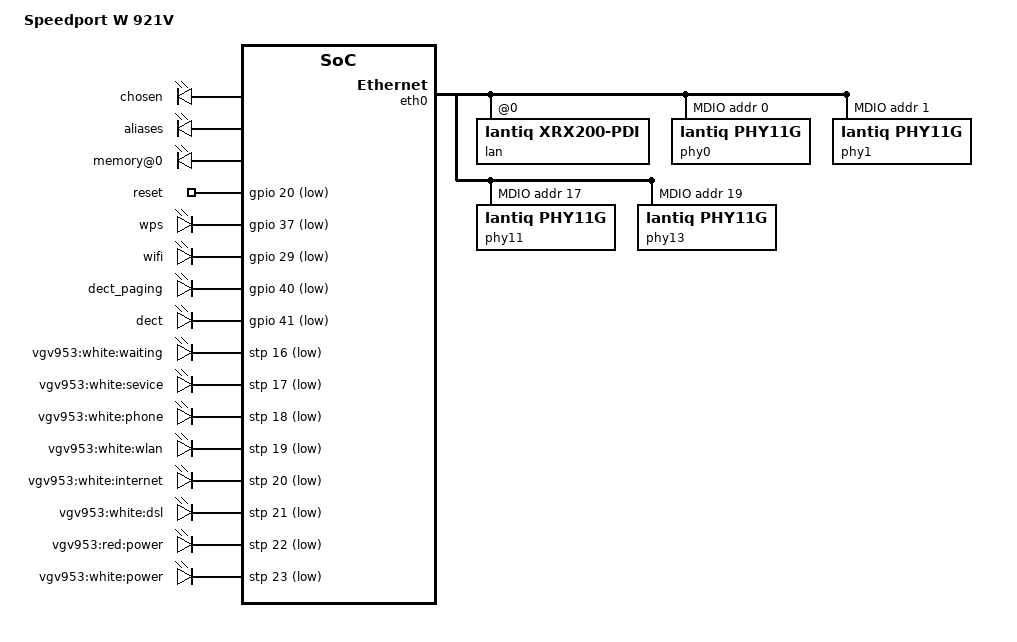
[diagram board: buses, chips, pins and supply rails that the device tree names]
/dts-v1/;

#include "vr9.dtsi"

#include <dt-bindings/input/input.h>

/ {
	compatible = "arcadyan,vgv953", "lantiq,xway", "lantiq,vr9";
	model = "Speedport W 921V";

	chosen {
/*		bootargs = "console=ttyLTQ0,115200 mem=62M vpe1_load_addr=0x83e00000 vpe1_mem=2M maxvpes=1 maxtcs=1 nosmp";*/
		bootargs = "console=ttyLTQ0,115200";
	};

	aliases {
		led-boot = &power_green;
		led-failsafe = &power_red;
		led-running = &power_green;

		led-dsl = &dsl;
		led-internet = &internet;
	};

	memory@0 {
		reg = <0x0 0x8000000>;
	};
/*	sram@1F000000 {/*
/*		vmmc@107000 {/*
/*		status = "okay";/*
/*		gpios = <&gpio 31 GPIO_ACTIVE_LOW>;/*
/*		};/*
/*	};/*

	fpi@10000000 {
		localbus@0 {
			nand-parts@0 {
				compatible = "lantiq,nand-xway";
				lantiq,cs = <1>;
				bank-width = <2>;
				reg = <0 0x0 0x2000000>;
				#address-cells = <1>;
				#size-cells = <1>;

				partitions {
					compatible = "fixed-partitions";
					#address-cells = <1>;
					#size-cells = <1>;

					partition@0 {
						label = "uboot";
						reg = <0x00000 0x40000>;
					};
					partition@40000 {
						label = "uboot-env";
						reg = <0x40000 0x20000>;
					};
					partition@60000 {
						label = "kernel";
						reg = <0x60000 0x200000>;
					};
					partition@260000 {
						label = "ubi";
						reg = <0x260000 0x1da0000>;
					};
				};
			};
		};

		gpio: pinmux@E100B10 {
			pinctrl-names = "default";
			pinctrl-0 = <&state_default>;

			state_default: pinmux {
				exin3 {
					lantiq,groups = "exin3";
					lantiq,function = "exin";
				};
				mdio {
					lantiq,groups = "mdio";
					lantiq,function = "mdio";
				};
				gphy-leds {
					lantiq,groups = "gphy0 led1", "gphy1 led1",
							"gphy0 led2", "gphy1 led2";
					lantiq,function = "gphy";
					lantiq,pull = <2>;
					lantiq,open-drain = <0>;
					lantiq,output = <1>;
				};
				stp {
					lantiq,groups = "stp";
					lantiq,function = "stp";
					lantiq,open-drain = <0>;
					lantiq,output = <1>;
				};
				pci-in {
					lantiq,groups = "req1";
					lantiq,function = "pci";
					lantiq,output = <0>;
					lantiq,open-drain = <1>;
					lantiq,pull = <2>;
				};
				pci-out {
					lantiq,groups = "gnt1";
					lantiq,function = "pci";
					lantiq,output = <1>;
					lantiq,open-drain = <0>;
					lantiq,pull = <0>;
				};
				pci_rst {
					lantiq,pins = "io21";
					lantiq,output = <1>;
					lantiq,open-drain;
				};
				pcie-rst {
					lantiq,pins = "io38";
					lantiq,pull = <0>;
					lantiq,output = <1>;
					lantiq,open-drain;
				};
				usb_vbus {
					lantiq,pins = "io33";
					lantiq,pull = <0>;
					lantiq,open-drain = <0>;
					lantiq,output = <1>;
				};
				nand_out {
					lantiq,groups = "nand cle", "nand ale";
					lantiq,function = "ebu";
					lantiq,output = <1>;
					lantiq,open-drain = <0>;
					lantiq,pull = <0>;
				};
				nand_cs1 {
					lantiq,groups = "nand cs1";
					lantiq,function = "ebu";
					lantiq,open-drain = <0>;
					lantiq,pull = <0>;
				};
			};
		};

		stp: stp@E100BB0 {
			compatible = "lantiq,gpio-stp-xway";
			gpio-controller;
			reg = <0xE100BB0 0x40>;
			#gpio-cells = <2>;


			lantiq,shadow = <0xffffff>;
			lantiq,groups = <0x7>;
			lantiq,dsl = <0x0>;
			lantiq,phy1 = <0x0>;
			lantiq,phy2 = <0x0>;
		};

		ifxhcd@E101000 {
			status = "okay";
			gpios = <&gpio 32 GPIO_ACTIVE_HIGH>;
			lantiq,portmask = <0x3>;
		};

		ifxhcd@E106000 {
			status = "okay";
			gpios = <&gpio 32 GPIO_ACTIVE_HIGH>;
		};

		pci@E105400 {
			status = "okay";
			gpio-reset = <&gpio 21 GPIO_ACTIVE_HIGH>;
		};

		pcie@d900000 {
			status = "disabled";
		};
	};

	gphy-xrx200 {
		compatible = "lantiq,phy-xrx200";
		firmware1 = "lantiq/xrx200_phy11g_a14.bin";	/*VR9 1.1*/
		firmware2 = "lantiq/xrx200_phy11g_a22.bin";	/*VR9 1.2*/
		phys = [ 00 01 ];
	};

	gpio-keys-polled {
		compatible = "gpio-keys-polled";
		#address-cells = <1>;
		#size-cells = <0>;
		poll-interval = <100>;
		reset {
			label = "reset";
			gpios = <&gpio 20 GPIO_ACTIVE_LOW>;
			linux,code = <KEY_RESTART>;
		};

		wps {
			label = "wps";
			gpios = <&gpio 37 GPIO_ACTIVE_LOW>;
			linux,code = <KEY_WPS_BUTTON>;
		};

		wifi {
			label = "wifi";
			gpios = <&gpio 29 GPIO_ACTIVE_LOW>;
			linux,code = <KEY_RFKILL>;
		};
		dect_paging {
			label = "dect_paging";
			gpios = <&gpio 40 GPIO_ACTIVE_LOW>;
			linux,code = <KEY_PHONE>;
		};
		dect_pairing {
			label = "dect";
			gpios = <&gpio 41 GPIO_ACTIVE_LOW>;
			linux,code = <BTN_0>;
		};
	};

	gpio-leds {
		compatible = "gpio-leds";

		waiting {
			label = "vgv953:white:waiting";
			gpios = <&stp 16 GPIO_ACTIVE_LOW>;
		};
		service {
			label = "vgv953:white:sevice";
			gpios = <&stp 17 GPIO_ACTIVE_LOW>;
		};
		phone {
			label = "vgv953:white:phone";
			gpios = <&stp 18 GPIO_ACTIVE_LOW>;
		};
		wlan {
			label = "vgv953:white:wlan";
			gpios = <&stp 19 GPIO_ACTIVE_LOW>;
		};
		internet: internet {
			label = "vgv953:white:internet";
			gpios = <&stp 20 GPIO_ACTIVE_LOW>;
		};
		dsl: dsl {
			label = "vgv953:white:dsl";
			gpios = <&stp 21 GPIO_ACTIVE_LOW>;
		};
		power_red: power {
			label = "vgv953:red:power";
			gpios = <&stp 22 GPIO_ACTIVE_LOW>;
		};
		power_green: power2 {
			label = "vgv953:white:power";
			gpios = <&stp 23 GPIO_ACTIVE_LOW>;
			default-state = "keep";
		};
	};
};

&eth0 {
	lan: interface@0 {
		compatible = "lantiq,xrx200-pdi";
		#address-cells = <1>;
		#size-cells = <0>;
		reg = <0>;
		lantiq,switch;

		ethernet@0 {
			compatible = "lantiq,xrx200-pdi-port";
			reg = <0>;
			phy-mode = "rgmii";
			phy-handle = <&phy0>;
		};
		ethernet@1 {
			compatible = "lantiq,xrx200-pdi-port";
			reg = <1>;
			phy-mode = "rgmii";
			phy-handle = <&phy1>;
		};
		ethernet@2 {
			compatible = "lantiq,xrx200-pdi-port";
			reg = <2>;
			phy-mode = "gmii";
			phy-handle = <&phy11>;
		};
		ethernet@4 {
			compatible = "lantiq,xrx200-pdi-port";
			reg = <4>;
			phy-mode = "gmii";
			phy-handle = <&phy13>;
		};
	};

	mdio@0 {
		#address-cells = <1>;
		#size-cells = <0>;
		compatible = "lantiq,xrx200-mdio";
		phy0: ethernet-phy@0 {
			reg = <0x0>;
			compatible = "lantiq,phy11g", "ethernet-phy-ieee802.3-c22";
		};
		phy1: ethernet-phy@1 {
			reg = <0x1>;
			compatible = "lantiq,phy11g", "ethernet-phy-ieee802.3-c22";
		};
		phy11: ethernet-phy@11 {
			reg = <0x11>;
			compatible = "lantiq,phy11g", "ethernet-phy-ieee802.3-c22";
		};
		phy13: ethernet-phy@13 {
			reg = <0x13>;
			compatible = "lantiq,phy11g", "ethernet-phy-ieee802.3-c22";
		};
	};
};
